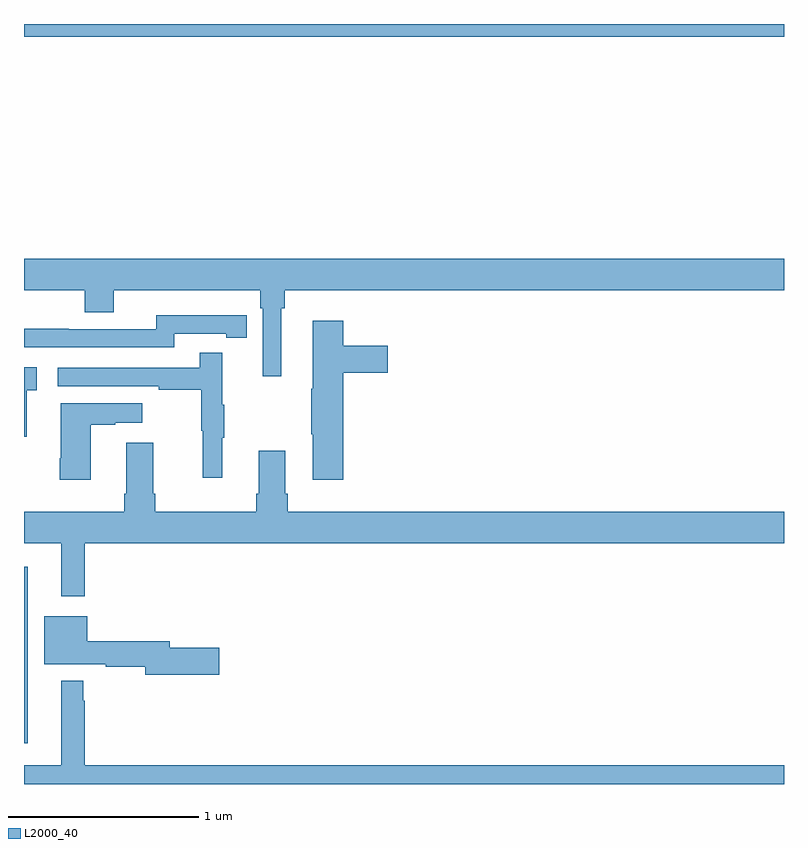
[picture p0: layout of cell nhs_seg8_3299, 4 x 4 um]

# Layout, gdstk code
import gdstk
lib = gdstk.Library(unit=1e-6, precision=1e-09)
def R(c, l, rs):  # rectangles x0, y0, x1, y1
    for r in rs: c.add(gdstk.rectangle(r[:2], r[2:], *l))
def P(c, l, *ps):  # polygons
    for p in ps: c.add(gdstk.Polygon(p, *l))
L2000_40 = (2000, 40)

nhs_seg8_3299 = lib.new_cell('nhs_seg8_3299')
R(nhs_seg8_3299, L2000_40, [(315,1114.115,315.019,1115.044), (315,1117.832,319,1117.9)])
P(nhs_seg8_3299, L2000_40, [(316.354,1116.404),(316.373,1116.404),(316.373,1116.5),(319,1116.5),(319,1116.664),(315,1116.664),(315,1116.5),(315.32,1116.5),(315.32,1116.383),(315.472,1116.383),(315.472,1116.5),(316.244,1116.5),(316.244,1116.404),(316.257,1116.404),(316.257,1116.045),(316.354,1116.045)],
  [(315.792,1116.27),(316.064,1116.27),(316.064,1116.25),(316.172,1116.25),(316.172,1116.366),(316.064,1116.366),(316.064,1116.367),(315.696,1116.367),(315.696,1116.294),(315.236,1116.294),(315.236,1116.296),(315,1116.296),(315,1116.198),(315.792,1116.198)],
  [(316.679,1116.065),(316.915,1116.065),(316.915,1116.207),(316.679,1116.207),(316.679,1116.337),(316.52,1116.337),(316.52,1115.981),(316.513,1115.981),(316.513,1115.74),(316.52,1115.74),(316.52,1115.502),(316.679,1115.502)],
  [(316.043,1115.723),(316.054,1115.723),(316.054,1115.897),(316.043,1115.897),(316.043,1116.169),(315.925,1116.169),(315.925,1116.09),(315.177,1116.09),(315.177,1115.994),(315.709,1115.994),(315.709,1115.974),(315.933,1115.974),(315.933,1115.76),(315.94,1115.76),(315.94,1115.511),(316.043,1115.511)],
  [(315.014,1115.973),(315.067,1115.973),(315.067,1116.094),(315,1116.094),(315,1115.727),(315.014,1115.727)],
  [(315.352,1115.791),(315.479,1115.791),(315.479,1115.801),(315.622,1115.801),(315.622,1115.905),(315.194,1115.905),(315.194,1115.614),(315.187,1115.614),(315.187,1115.502),(315.352,1115.502)],
  [(315.319,1115.168),(319,1115.168),(319,1115.332),(316.388,1115.332),(316.388,1115.428),(316.375,1115.428),(316.375,1115.653),(316.235,1115.653),(316.235,1115.428),(316.223,1115.428),(316.223,1115.332),(315.692,1115.332),(315.692,1115.428),(315.679,1115.428),(315.679,1115.695),(315.539,1115.695),(315.539,1115.428),(315.527,1115.428),(315.527,1115.332),(315,1115.332),(315,1115.168),(315.197,1115.168),(315.197,1114.887),(315.319,1114.887)],
  [(316.027,1114.616),(315.766,1114.616),(315.766,1114.652),(315.334,1114.652),(315.334,1114.783),(315.107,1114.783),(315.107,1114.529),(315.43,1114.529),(315.43,1114.516),(315.638,1114.516),(315.638,1114.474),(316.027,1114.474)],
  [(319,1114),(315.319,1114),(315.319,1114.337),(315.312,1114.337),(315.312,1114.444),(315.197,1114.444),(315.197,1114),(315,1114),(315,1113.9),(319,1113.9)])

lib.write_gds('nhs_seg8_3299.gds')
